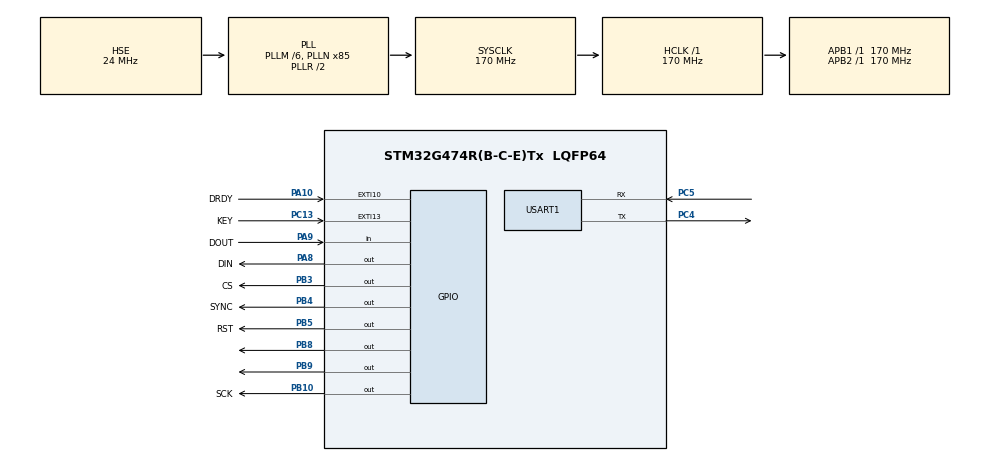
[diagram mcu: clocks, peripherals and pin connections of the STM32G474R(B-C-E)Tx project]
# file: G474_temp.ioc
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Mcu.Family=STM32G4
Mcu.Name=STM32G474R(B-C-E)Tx
Mcu.Package=LQFP64
NVIC.EXTI15_10_IRQn=true\:0\:0\:false\:false\:true\:true\:true\:true
NVIC.PriorityGroup=NVIC_PRIORITYGROUP_4
NVIC.USART1_IRQn=true\:0\:0\:false\:false\:true\:true\:true\:true
PA10.GPIO_Label=DRDY
PA10.GPIO_ModeDefaultEXTI=GPIO_MODE_IT_FALLING
PA10.Signal=GPXTI10
PA13.Mode=Serial_Wire
PA13.Signal=SYS_JTMS-SWDIO
PA14.Mode=Serial_Wire
PA14.Signal=SYS_JTCK-SWCLK
PA8.GPIO_Label=DIN
PA8.Signal=GPIO_Output
PA9.GPIO_Label=DOUT
PA9.Signal=GPIO_Input
PB10.GPIO_Label=SCK
PB10.Signal=GPIO_Output
PB3.GPIO_Label=CS
PB3.Signal=GPIO_Output
PB4.GPIO_Label=SYNC
PB4.Signal=GPIO_Output
PB5.GPIO_Label=RST
PB5.Signal=GPIO_Output
PB8-BOOT0.GPIO_FM8=__NULL
PB8-BOOT0.GPIO_ModeDefaultOutputPP=GPIO_MODE_OUTPUT_OD
PB8-BOOT0.GPIO_PuPd=GPIO_PULLUP
PB8-BOOT0.GPIO_Speed=GPIO_SPEED_FREQ_VERY_HIGH
PB8-BOOT0.Signal=GPIO_Output
PB9.GPIO_ModeDefaultOutputPP=GPIO_MODE_OUTPUT_OD
PB9.GPIO_PuPd=GPIO_PULLUP
PB9.GPIO_Speed=GPIO_SPEED_FREQ_VERY_HIGH
PB9.Signal=GPIO_Output
PC13.GPIO_Label=KEY
PC13.GPIO_PuPd=GPIO_NOPULL
PC13.Signal=GPXTI13
PC14-OSC32_IN.Mode=LSE-External-Oscillator
PC14-OSC32_IN.Signal=RCC_OSC32_IN
PC15-OSC32_OUT.Mode=LSE-External-Oscillator
PC15-OSC32_OUT.Signal=RCC_OSC32_OUT
PC4.Mode=Asynchronous
PC4.Signal=USART1_TX
PC5.Mode=Asynchronous
PC5.Signal=USART1_RX
PF0-OSC_IN.Mode=HSE-External-Oscillator
PF0-OSC_IN.Signal=RCC_OSC_IN
PF1-OSC_OUT.Mode=HSE-External-Oscillator
PF1-OSC_OUT.Signal=RCC_OSC_OUT
ProjectManager.HeapSize=0x200
ProjectManager.StackSize=0x400
ProjectManager.TargetToolchain=MDK-ARM V5.32
RCC.ADC12Freq_Value=170000000
RCC.ADC345Freq_Value=170000000
RCC.AHBFreq_Value=170000000
RCC.APB1Freq_Value=170000000
RCC.APB1TimFreq_Value=170000000
RCC.APB2Freq_Value=170000000
RCC.APB2TimFreq_Value=170000000
RCC.CortexFreq_Value=170000000
RCC.EXTERNAL_CLOCK_VALUE=12288000
RCC.HCLKFreq_Value=170000000
RCC.HSE_VALUE=24000000
RCC.HSI48_VALUE=48000000
RCC.HSI_VALUE=16000000
RCC.PLLM=RCC_PLLM_DIV6
RCC.PLLN=85
RCC.PLLSourceVirtual=RCC_PLLSOURCE_HSE
RCC.RTCClockSelection=RCC_RTCCLKSOURCE_LSE
RCC.SYSCLKFreq_VALUE=170000000
RCC.SYSCLKSource=RCC_SYSCLKSOURCE_PLLCLK
RCC.USBFreq_Value=170000000
RCC.VCOOutputFreq_Value=340000000
USART1.VirtualMode-Asynchronous=VM_ASYNC
VP_SYS_VS_DBSignals.Mode=DisableDeadBatterySignals
board=NUCLEO-G474RE

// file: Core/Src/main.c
/* USER CODE BEGIN Header */
/**
  ******************************************************************************
  * @file           : main.c
  * @brief          : Main program body
  ******************************************************************************
  * @attention
  *
  * Copyright (c) 2023 STMicroelectronics.
  * All rights reserved.
  *
  * This software is licensed under terms that can be found in the LICENSE file
  * in the root directory of this software component.
  * If no LICENSE file comes with this software, it is provided AS-IS.
  *
  ******************************************************************************
  */
/* USER CODE END Header */
#include "main.h"
#include "usart.h"
#include "gpio.h"

/* USER CODE BEGIN Includes */
#include "delay.h"
#include "myusart1.h"
#include "OLED_I2C.h"
#include "ads1256.h"
/* USER CODE END Includes */

void SystemClock_Config(void);

int main(void)
{
  /* USER CODE BEGIN 1 */
	uint8_t i;
	uint8_t ch_num;
	int32_t adc[8];
	int32_t volt[8];

  /* USER CODE END 1 */

  /* MCU Configuration--------------------------------------------------------*/

  /* Reset of all peripherals, Initializes the Flash interface and the Systick. */
  HAL_Init();

  /* Configure the system clock */
  SystemClock_Config();

  /* Initialize all configured peripherals */
  MX_GPIO_Init();
  MX_USART1_UART_Init();
  /* USER CODE BEGIN 2 */
  delay_init(170);
  MyUSART1_Init(&huart1);
  OLED_Init();
  OLED_CLS();
  OLED_ShowStr(40,3,(unsigned char *)"START",2);

	ADS1256_Init();
	uint8_t id;

	id = ADS1256_ReadChipID();

	printf("\r\n");
	printf("读取芯片ID\r\n");

	if (id != 3)
	{
		printf("Error, ASD1256 Chip ID = 0x%X\r\n", id);
	}
	else
	{
		printf("Ok, ASD1256 Chip ID = 0x%X\r\n", id);
	}

	printf("\r\nPGA增益 = 1, 数据输出速率 = 15sps, 单端8路扫描\r\n\r\n");

	ADS1256_CfgADC(ADS1256_GAIN_1, ADS1256_30000SPS);	/* 配置ADC参数： 增益1:1, 数据输出速率 15Hz */

	/*
		中断服务程序会自动读取ADC结果保存在全局变量，主程序通过 ADS1256_GetAdc() 函数来读取这些数据
	*/
	ADS1256_StartScan(0);	/* 启动中断扫描模式. 0表示单端8路，1表示差分4路 */
	ch_num = 8;		/* 通道数 = 8 或者4 */

  /* USER CODE END 2 */

  /* Infinite loop */
  /* USER CODE BEGIN WHILE */
  while (1)
  {
	for (i = 0; i < ch_num; i++)
	{
		/* 从全局缓冲区读取采样结果。 采样结果是在中断服务程序中读取的。*/
		adc[i] = ADS1256_GetAdc(i);

		/* 4194303 = 2.5V , 这是理论值，实际可以根据2.5V基准的实际值进行公式矫正 */
		volt[i] = ((int64_t)adc[i] * 2500000) / 4194303;	/* 计算实际电压值（近似估算的），如需准确，请进行校准 */
		printf("CH%d = %.2f mv\r\n",i,(float)volt[i]/1000);
	}
    /* USER CODE END WHILE */

    /* USER CODE BEGIN 3 */

	delay_ms(1000);
  }
  /* USER CODE END 3 */
}

void SystemClock_Config(void)
{
  RCC_OscInitTypeDef RCC_OscInitStruct = {0};
  RCC_ClkInitTypeDef RCC_ClkInitStruct = {0};

  /** Configure the main internal regulator output voltage
  */
  HAL_PWREx_ControlVoltageScaling(PWR_REGULATOR_VOLTAGE_SCALE1_BOOST);

  /** Initializes the RCC Oscillators according to the specified parameters
  * in the RCC_OscInitTypeDef structure.
  */
  RCC_OscInitStruct.OscillatorType = RCC_OSCILLATORTYPE_HSE;
  RCC_OscInitStruct.HSEState = RCC_HSE_ON;
  RCC_OscInitStruct.PLL.PLLState = RCC_PLL_ON;
  RCC_OscInitStruct.PLL.PLLSource = RCC_PLLSOURCE_HSE;
  RCC_OscInitStruct.PLL.PLLM = RCC_PLLM_DIV6;
  RCC_OscInitStruct.PLL.PLLN = 85;
  RCC_OscInitStruct.PLL.PLLP = RCC_PLLP_DIV2;
  RCC_OscInitStruct.PLL.PLLQ = RCC_PLLQ_DIV2;
  RCC_OscInitStruct.PLL.PLLR = RCC_PLLR_DIV2;
  if (HAL_RCC_OscConfig(&RCC_OscInitStruct) != HAL_OK)
  {
    Error_Handler();
  }

  /** Initializes the CPU, AHB and APB buses clocks
  */
  RCC_ClkInitStruct.ClockType = RCC_CLOCKTYPE_HCLK|RCC_CLOCKTYPE_SYSCLK
                              |RCC_CLOCKTYPE_PCLK1|RCC_CLOCKTYPE_PCLK2;
  RCC_ClkInitStruct.SYSCLKSource = RCC_SYSCLKSOURCE_PLLCLK;
  RCC_ClkInitStruct.AHBCLKDivider = RCC_SYSCLK_DIV1;
  RCC_ClkInitStruct.APB1CLKDivider = RCC_HCLK_DIV1;
  RCC_ClkInitStruct.APB2CLKDivider = RCC_HCLK_DIV1;

  if (HAL_RCC_ClockConfig(&RCC_ClkInitStruct, FLASH_LATENCY_4) != HAL_OK)
  {
    Error_Handler();
  }
}

/* USER CODE BEGIN 4 */
void HAL_GPIO_EXTI_Callback(uint16_t GPIO_Pin)
{
	if (GPIO_Pin == DRDY_Pin)
	{

		ADS1256_ISR();
	}
}
//void HAL_GPIO_EXTI_Callback(uint16_t GPIO_PIN)
//{
//	static uint16_t num = 0;
//	if (KEY_Pin)
//	{
//		OLED_CLS();
//		OLED_ShowInt(40,3,num++,2);
//	}
//}
/* USER CODE END 4 */

void Error_Handler(void)
{
  __disable_irq();
  while (1)
  {
  }
}
